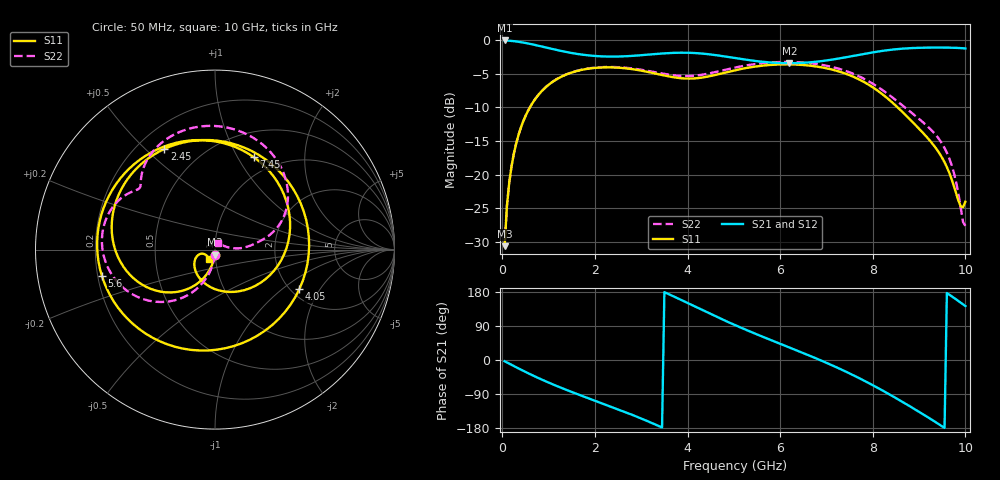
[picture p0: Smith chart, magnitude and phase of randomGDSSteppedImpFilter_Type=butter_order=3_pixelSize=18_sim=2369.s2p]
! freq	dB(S11)	phase(S11)	dB(S12)	phase(S12)
!  dB(S21)	phase(S21)	dB(S22)	phase(S22)
!S-par simulation data
#  GHz  S  DB  R 50
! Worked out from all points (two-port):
!   200 points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, 50 MHz to 10 GHz, reference 50 ohm
!   highest |S21| = -0.01 dB at 50 MHz (marker M1); lowest = -3.4 dB at 6.2 GHz (marker M2)
!   |S21| within 3 dB of the highest: start of sweep to 5.398 GHz; 6.983 GHz to end of sweep
!   lowest |S11| = -30.7 dB at 50 MHz (marker M3), VSWR 1.06, Z = 49.7 - j2.9 ohm
!   |S11| at or under -10 dB: start of sweep to 595.1 MHz; 8.539 GHz to end of sweep
!   |S22| runs from -30.7 to -3.2 dB; largest |S21 - S12| = 0
!   S11 on the Smith chart (normalised r, x): 50 MHz: 0.99, -0.06; 2.45 GHz: 0.31, +0.57; 4.05 GHz: 2.22, -1.34; 5.6 GHz: 0.22, -0.11; 7.45 GHz: 0.78, +1.17; 10 GHz: 0.93, -0.10
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0.05  -30.69 -93.6  -0.01 -3.3  -0.01 -3.3  -30.68 -92.9
0.1  -24.69 -97.4  -0.03 -6.5  -0.03 -6.5  -24.68 -95.9
0.2  -18.76 -104.7  -0.08 -12.9  -0.08 -12.9  -18.75 -101.8
0.5  -11.30 -125.5  -0.38 -31.4  -0.38 -31.4  -11.28 -118.4
1.05  -6.36 -160.6  -1.23 -62.2  -1.23 -62.2  -6.34 -144.8
1.75  -4.35 158.8  -2.15 -96.0  -2.15 -96.0  -4.31 -171.8
2.45  -4.05 116.8  -2.41 -127.9  -2.41 -127.9  -3.98 166.8
2.95  -4.44 81.6  -2.24 -151.9  -2.24 -151.9  -4.32 154.4
3.4  -5.09 43.0  -1.98 -175.4  -1.98 -175.4  -4.87 146.2
4.05  -5.70 -25.2  -1.85 147.5  -1.85 147.5  -5.31 140.3
4.55  -5.23 -79.0  -2.14 118.4  -2.14 118.4  -4.80 135.6
5.05  -4.42 -125.2  -2.66 90.8  -2.66 90.8  -4.02 126.5
5.6  -3.78 -167.1  -3.17 62.5  -3.17 62.5  -3.41 112.3
6.2  -3.58 152.9  -3.40 33.1  -3.40 33.1  -3.22 94.2
6.7  -3.81 120.4  -3.24 8.2  -3.24 8.2  -3.44 77.7
7.45  -5.06 67.3  -2.48 -32.5  -2.48 -32.5  -4.63 51.1
7.9  -6.56 29.8  -1.91 -60.0  -1.91 -60.0  -6.06 35.3
8.35  -8.83 -14.2  -1.43 -90.0  -1.43 -90.0  -8.12 22.1
8.8  -11.76 -65.9  -1.16 -122.1  -1.16 -122.1  -10.58 13.5
9.3  -15.50 -127.7  -1.07 -159.5  -1.07 -159.5  -13.62 7.2
9.7  -20.64 -163.1  -1.09 168.5  -1.09 168.5  -18.54 3.2
10  -24.05 -122.8  -1.20 142.2  -1.20 142.2  -27.65 67.4
